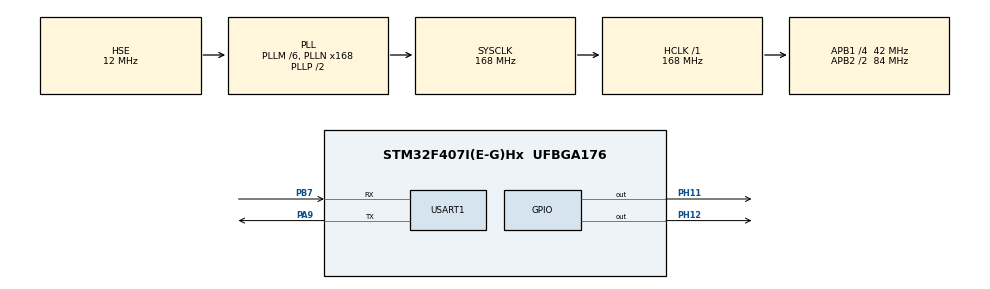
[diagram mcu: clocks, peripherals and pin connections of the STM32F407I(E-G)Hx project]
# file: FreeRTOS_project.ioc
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FREERTOS.Tasks01=defaultTask,24,128,StartDefaultTask,Default,NULL,Dynamic,NULL,NULL
Mcu.Family=STM32F4
Mcu.Name=STM32F407I(E-G)Hx
Mcu.Package=UFBGA176
NVIC.PriorityGroup=NVIC_PRIORITYGROUP_4
NVIC.TIM1_UP_TIM10_IRQn=true\:15\:0\:false\:false\:true\:false\:false\:true\:true
NVIC.TimeBase=TIM1_UP_TIM10_IRQn
NVIC.TimeBaseIP=TIM1
PA13.Mode=Serial_Wire
PA13.Signal=SYS_JTMS-SWDIO
PA14.Mode=Serial_Wire
PA14.Signal=SYS_JTCK-SWCLK
PA9.Mode=Asynchronous
PA9.Signal=USART1_TX
PB7.Mode=Asynchronous
PB7.Signal=USART1_RX
PC14-OSC32_IN.Mode=LSE-External-Oscillator
PC14-OSC32_IN.Signal=RCC_OSC32_IN
PC15-OSC32_OUT.Mode=LSE-External-Oscillator
PC15-OSC32_OUT.Signal=RCC_OSC32_OUT
PH0-OSC_IN.Mode=HSE-External-Oscillator
PH0-OSC_IN.Signal=RCC_OSC_IN
PH1-OSC_OUT.Mode=HSE-External-Oscillator
PH1-OSC_OUT.Signal=RCC_OSC_OUT
PH11.GPIO_PuPd=GPIO_PULLUP
PH11.Signal=GPIO_Output
PH12.GPIO_PuPd=GPIO_PULLUP
PH12.Signal=GPIO_Output
ProjectManager.HeapSize=0x200
ProjectManager.StackSize=0x400
ProjectManager.TargetToolchain=CMake
RCC.48MHZClocksFreq_Value=84000000
RCC.AHBFreq_Value=168000000
RCC.APB1CLKDivider=RCC_HCLK_DIV4
RCC.APB1Freq_Value=42000000
RCC.APB1TimFreq_Value=84000000
RCC.APB2CLKDivider=RCC_HCLK_DIV2
RCC.APB2Freq_Value=84000000
RCC.APB2TimFreq_Value=168000000
RCC.CortexFreq_Value=168000000
RCC.HCLKFreq_Value=168000000
RCC.HSE_VALUE=12000000
RCC.HSI_VALUE=16000000
RCC.PLLM=6
RCC.PLLN=168
RCC.PLLSourceVirtual=RCC_PLLSOURCE_HSE
RCC.SYSCLKFreq_VALUE=168000000
RCC.SYSCLKSource=RCC_SYSCLKSOURCE_PLLCLK
RCC.VCOOutputFreq_Value=336000000
USART1.VirtualMode=VM_ASYNC
VP_FREERTOS_VS_CMSIS_V2.Mode=CMSIS_V2
VP_SYS_VS_tim1.Mode=TIM1
board=custom

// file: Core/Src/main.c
/* USER CODE BEGIN Header */
/**
  ******************************************************************************
  * @file           : main.c
  * @brief          : Main program body
  ******************************************************************************
  * @attention
  *
  * Copyright (c) 2026 STMicroelectronics.
  * All rights reserved.
  *
  * This software is licensed under terms that can be found in the LICENSE file
  * in the root directory of this software component.
  * If no LICENSE file comes with this software, it is provided AS-IS.
  *
  ******************************************************************************
  */
/* USER CODE END Header */
#include "main.h"
#include "cmsis_os.h"
#include "usart.h"
#include "gpio.h"

/* USER CODE BEGIN Includes */
#include "stdio.h"
#include <unistd.h>
#include "queue.h"       // cubemx 队列的头文件
#include "semphr.h"      // 信号量 的头文件
#include "my_freertos.h"
/* USER CODE END Includes */

/* USER CODE BEGIN PTD */
#define MAX_RESOURCE 3        //   定义计数信号量最大值
/* USER CODE END PTD */

/* USER CODE BEGIN PD */
extern UART_HandleTypeDef huart1;

TaskHandle_t xHandle1, xHandle2, xHandle3;    //  task1,2,3 的任务句柄
TaskHandle_t SenderHandle_1,SenderHandle_2, SenderHandle1 , SenderHandle2 , ReceiverHandle ;  //  发送和接收队列的句柄
QueueHandle_t queue_handle;
xQueueHandle xQueue1 ,xQueue2 ;               //  创建两个队列的句柄
xQueueSetHandle xQueueSet ;                   //  创建队列集合   使用队列集合需要先在FreeRTOSConfig.h 中定义宏 configUSE_QUEUE_SETS 并将其赋值为 1

xSemaphoreHandle  xSemaphore ;                //  创建计数信号量 句柄
SemaphoreHandle_t xBinarySemaphore ;          //  创建信号量 句柄

/* USER CODE END PD */

void SystemClock_Config(void);
void MX_FREERTOS_Init(void);
/* USER CODE BEGIN PFP */
uint32_t a ,b,c ,d,e,value1,value2;
uint8_t flag=0;
int sharedCounter = 0 ;
void vTask2(void *pvParameters) ;
void vTask3(void *pvParameters) ;
/* USER CODE END PFP */

/* USER CODE BEGIN 0 */
const char * s1 = "task1 controller running..." ;
const char * s2 = "task2 controller running..." ;
const char * s3 = "task3 controller running..." ;

// 定义三个全局变量
uint32_t redLedProfile = 0, blueLedProfile = 0, greenLedProfile = 0;
SemaphoreHandle_t xMutex ;      //  定义一个互斥量

uint32_t priority ;

typedef enum {                  //  传感器枚举类型
  humidity_sensor,         //  温度传感器
  pressure_sensor          //  压力传感器
}DataSource_t;

typedef struct {
  uint8_t ucValue ;    // 数据
  DataSource_t sDataSource ;  // 传感器类型
}Data_t ;

static const Data_t xStructsToSend[2] =   //  初始化数据
  {
     {77,humidity_sensor},
     {63,pressure_sensor}
  } ;

void vTask1(void *pvParameters) {

  for (;;) {
    ++a ;
    value1 ++ ;
//  printf("%s\r\n",(char *)pvParameters);
//	osDelay(10);
    for (int i =0; i <500 ;i++){}
/*  if(value1 > 7000)
{
    flag = 1;
    vTaskDelete(NULL);                    // 删除任务  使用函数前需要将 FreeRTOSConfig.h 中的宏 INCLUDE_vTaskDelete 赋值为 1
    vTaskSuspend(NULL);                   // 挂起任务  操作自身 参数填NULL
   vTaskDelay(pdMS_TO_TICKS(100));        // 将任务从就绪态 转到 阻塞态, pdMS_TO_TICKS()宏的作用是将括号中的毫秒转成对应的tick数
}  */
//    vTaskPrioritySet(NULL,3) ;              // 优先级设置
//    priority = uxTaskPriorityGet(xHandle1);   // 获取优先级
  }
}

void vTask2(void *pvParameters) {
  for (;;) {
  ++b;
//  printf("%s\r\n",(char *)pvParameters);
//	osDelay(10);
//   vTaskDelay(pdMS_TO_TICKS(100));
  }
}
void vTask3(void *pvParameters) {
  for (;;) {
  ++c;
//  printf("%s\r\n",(char *)pvParameters);
//	osDelay(10);
  /*  for (int i =0; i <500 ;i++){}
  if(flag == 1)
{  value2 ++ ;
   if(value2 > 10000)
{
    vTaskResume(xHandle1);    //  唤醒任务
    flag = 0 ;
}
}    */
//    vTaskDelay(pdMS_TO_TICKS(100));

  }
}

// 在每次执行任务切换的时候会执行这个函数，中断回调函数
void vApplicationTickHook(void) {     //  钩子函数   对应将宏 configUSE_TICK_HOOK 置为 1
  e++ ;
}

//  RTOS要求在任何状态下都要有任务运行，在其他所有任务都不在就绪态时，这个空闲任务（IDLE）执行，调用该函数
void vApplicationIdleHook( void ) {   //  钩子函数   对应将宏 configUSE_IDLE_HOOK 置为 1
  d++ ;
}

void SenderTask (void * pvParameters) {
  BaseType_t qStatus;
  const TickType_t wait_time = pdMS_TO_TICKS(200);
  while(1) {
    qStatus = xQueueSend(queue_handle,pvParameters, wait_time) ;
   if (qStatus == pdPASS) {

   }
    for (int i =0; i <50000 ;i++){}
  }
}

void SenderTask1(void *pvParameters) {           //  发送任务函数
  uint32_t value = 5;
  BaseType_t qStatus;
  while(1) {
   qStatus = xQueueSend(queue_handle,&value,0) ;     //  向队列中发送数据   这里的句柄传的就是在主函数中创建队列得到的句柄，得以对队列进行具体操作
    if (qStatus != pdTRUE) {
      printf("Sender Task Error\r\n");
    }
    for( int i = 0 ;i < 100000 ; i++ ){}
  }
}

void SenderTask2(void *pvParameters) {           //  发送任务函数
  uint32_t value = 6;
  BaseType_t qStatus;
  while(1) {
    qStatus = xQueueSend(queue_handle,&value,0) ;     //  向队列中发送数据   这里的句柄传的就是在主函数中创建队列得到的句柄，得以对队列进行具体操作
    if (qStatus != pdTRUE) {
      printf("Sender Task Error\r\n");
    }
    for( int i = 0 ;i < 100000 ; i++ ){}
  }
}

void ReceiverTask(void *pvParameters) {          //  接收任务函数
  Data_t xReceiveStructure ;
  const TickType_t wait_time = pdMS_TO_TICKS(100);     //  用宏来设定最大延时时间
  BaseType_t qStatus;
  while(1) {
    qStatus = xQueueReceive(queue_handle,&xReceiveStructure ,wait_time);  //  从队列中接收数据
    if (qStatus == pdTRUE) {
      if (xReceiveStructure .sDataSource ==humidity_sensor) {
        printf("humidity sensor value:%d \r\n",xReceiveStructure.ucValue );
      }
      else if (xReceiveStructure .sDataSource ==pressure_sensor) {
        printf("pressure sensor value:%d \r\n",xReceiveStructure.ucValue );
      }
    }
    else {
      printf("Receiver Error\r\n");
      for( int i = 0 ;i < 100000 ; i++ ){}
    }
  }
}

void SenderTask_1(void *pvParameters) {
  const  TickType_t xBlockTime = pdMS_TO_TICKS(100);
  const char * const msg ="messege from SenderTask_1\r\n " ;

  while(1) {
  vTaskDelay(xBlockTime);
    xQueueSend(xQueue1 ,&msg ,0) ;
  }
}

void SenderTask_2(void *pvParameters) {
  const  TickType_t xBlockTime = pdMS_TO_TICKS(100);
  const char * const msg ="messege from SenderTask_2\r\n " ;

  while(1) {
    vTaskDelay(xBlockTime);
    xQueueSend(xQueue2 ,&msg ,0) ;
  }
}

void ReceiveTask_1(void *pvParameters) {
  QueueHandle_t xQueueThatContainsData ;
  char *pcReicievedString ;
  while(1) {                         //  从队列中接收字符
    xQueueThatContainsData = (QueueHandle_t)xQueueSelectFromSet(xQueueSet,portMAX_DELAY) ;          //  检查队列集中所有成员（队列或信号量）的状态，返回第一个被检测到有数据/事件的成员
    xQueueReceive(xQueueThatContainsData,&pcReicievedString ,0) ;                    // 接收的是被选择的句柄的数据
    printf("%s\n\r",pcReicievedString);

  }
}

//  二值信号量任务
void redLedControllerTask(void *pvParameters) {
    xSemaphoreGive(xBinarySemaphore);                            //  首先 先放置一个信号量
  while(1) {
    xSemaphoreTake(xBinarySemaphore,portMAX_DELAY);              //  获取句柄为 xBinarySemaphore 的信号量
    printf("redLedControllerTask running ...\r\n");
    ++redLedProfile ;
    xSemaphoreGive(xBinarySemaphore);                            //  释放信号量
    vTaskDelay(pdMS_TO_TICKS(1));
  }
}

void blueLedControllerTask(void *pvParameters) {
  while(1) {
    xSemaphoreTake(xBinarySemaphore,portMAX_DELAY);              //  获取句柄为 xBinarySemaphore 的信号量
    printf("blueLedControllerTask running ...\r\n");
    ++blueLedProfile ;
    xSemaphoreGive(xBinarySemaphore);                            //  释放信号量
    vTaskDelay(pdMS_TO_TICKS(1));
  }
}

void greenLedControllerTask(void *pvParameters) {                //  获取句柄为 xBinarySemaphore 的信号量
  while(1) {
    xSemaphoreTake(xBinarySemaphore,portMAX_DELAY);
    printf("greenLedControllerTask running ...\r\n");
    ++greenLedProfile ;
    xSemaphoreGive(xBinarySemaphore);                            //  释放信号量
    vTaskDelay(pdMS_TO_TICKS(1));
  }
}

//  互斥信号量任务
//  在使用上 互斥信号量创建好之后，长度为 1。大小为 0 的队列中是有值的，直接获取就行了; 用于保护任务的共享资源，支持优先级反转避免死锁
// 但是二值信号量的创建函数创建完之后，队列中是空的,需要先放后取。用于任务间的简单同步
void Task1(void *pvParameters) {
  while(1) {
    if (xSemaphoreTake(xMutex,portMAX_DELAY) == pdTRUE)         //  如果任务获取到互斥信号量
    {
      sharedCounter ++ ;
      printf("Task1:sharedCounter = %d\r\n",sharedCounter);
      xSemaphoreGive(xMutex);                                   //  释放信号量
    }
      vTaskDelay(pdMS_TO_TICKS(10));
  }
}

void Task2(void *pvParameters) {
  while(1) {
    if (xSemaphoreTake(xMutex,portMAX_DELAY) == pdTRUE)         //  如果任务获取到互斥信号量
    {
      sharedCounter ++ ;
      printf("Task2:sharedCounter = %d\r\n",sharedCounter);
      xSemaphoreGive(xMutex);                                   //  释放信号量
    }
    vTaskDelay(pdMS_TO_TICKS(10));
  }
}

void Task3(void *pvParameters) {
  while(1) {
    if (xSemaphoreTake(xMutex,portMAX_DELAY) == pdTRUE)         //  如果任务获取到互斥信号量
    {
      sharedCounter ++ ;
      printf("Task3:sharedCounter = %d\r\n",sharedCounter);
      xSemaphoreGive(xMutex);                                   //  释放信号量
    }
    vTaskDelay(pdMS_TO_TICKS(10));
  }
}

//  计数信号量任务
void vTaskFunction(void *pvParameters) {
  char *taskID = (char *)pvParameters;
  while(1) {
    printf(" 任务 %s 请求资源\r\n",taskID);
    fflush(stdout) ;                        //  加一句 c++的代码，用于清空输出缓冲区
    if ( xSemaphoreTake(xSemaphore,0) == pdTRUE) {              //   用的和互斥信号量是同一个函数  如果获取成功
      printf("任务 %s 获取资源，当前资源剩余 %d\r\n", taskID, (uint32_t) uxSemaphoreGetCount(xSemaphore));   // 用uxSemaphoreGetCount函数 获取剩余信号量
     fflush(stdout) ;
      for (int i = 0; i < 10000000 ; i++){}
      printf("任务 %s 使用完资源，当前资源剩余 %d\r\n", taskID, (uint32_t) uxSemaphoreGetCount(xSemaphore));   // 用uxSemaphoreGetCount函数 获取剩余信号量
     fflush(stdout) ;
      xSemaphoreGive(xSemaphore);
    }
    else {
      printf("任务 %s 无法获取资源，资源池为空\r\n", taskID);
     fflush(stdout) ;
    }
    vTaskDelay(pdMS_TO_TICKS(1000));
  }
}

/* USER CODE END 0 */

int main(void)
{

  /* MCU Configuration--------------------------------------------------------*/

  /* Reset of all peripherals, Initializes the Flash interface and the Systick. */
  HAL_Init();

  /* Configure the system clock */
  SystemClock_Config();

  /* Initialize all configured peripherals */
  MX_GPIO_Init();
  MX_USART1_UART_Init();
  /* USER CODE BEGIN 2 */
 // xTaskCreate(vTask1, "Task1", configMINIMAL_STACK_SIZE, NULL, 1, &xHandle1);
 // xTaskCreate(vTask2, "Task2", configMINIMAL_STACK_SIZE, NULL, 1, &xHandle2);
 // xTaskCreate(vTask3, "Task3", configMINIMAL_STACK_SIZE, NULL, 1, &xHandle3);

  // queue_handle = xQueueCreate(5, sizeof(Data_t));      // 创建队列函数  参数是队列的长度 以及 单个元素的大小  队列创建成功之后会得到一个任务句柄
  xQueue1 = xQueueCreate(1,sizeof(char *));
  xQueue2 = xQueueCreate(1,sizeof(char *));

  //  任务集合适用于需要从多个数据来源同步接收处理数据，可以避免通过轮询检查任务状态的方式，把数据放到一个队列里，提高处理效率
  xQueueSet = xQueueCreateSet(1*2) ;   // 创建队列集合，每条队列长度为 1，一共有两条队列   需要先定义宏configUSE_QUEUE_SETS 并赋值为 1
  xQueueAddToSet(xQueue1,xQueueSet) ;     //  将两条队列分别加入队列集合
  xQueueAddToSet(xQueue2,xQueueSet) ;

  // xTaskCreate(SenderTask1,"Sender1",512,NULL,1,&SenderHandle1);    // 创建任务
  // xTaskCreate(SenderTask2,"Sender2",512,NULL,1,&SenderHandle2);    // 创建任务

//  xTaskCreate(SenderTask,"Sender_1",512,(void *)&(xStructsToSend[0]),2,&SenderHandle_1);    // 传入的 (void *)&(xStructsToSend[0]) 就是传给Task函数的参数
//  xTaskCreate(SenderTask,"Sender_2",512,(void *)&(xStructsToSend[1]),2,&SenderHandle_2);
//  xTaskCreate(ReceiverTask,"Receiver",1024,NULL,2,&ReceiverHandle);

//  xTaskCreate(SenderTask_1,"sender1",512,NULL,1,NULL);
//  xTaskCreate(SenderTask_2,"sender2",512,NULL,1,NULL);
//  xTaskCreate(ReceiveTask_1,"receiver",1024,NULL,2,NULL);

//    xBinarySemaphore = xSemaphoreCreateBinary() ;               //  创建二值信号量 返回给二值信号量的句柄

//   xTaskCreate(redLedControllerTask,"redLedTask" , 512,NULL,1,NULL) ;
//    xTaskCreate(blueLedControllerTask,"blueLedTask" , 512,NULL,1,NULL) ;
//    xTaskCreate(greenLedControllerTask,"greenLedTask" , 512,NULL,1,NULL) ;

//  xMutex = xSemaphoreCreateMutex();                              //  创建 互斥信号量 返回给互斥信号量的句柄
//  xTaskCreate(Task1,"Task1" , 512,NULL,1,NULL) ;
// xTaskCreate(Task2,"Task2" , 512,NULL,1,NULL) ;
// xTaskCreate(Task3,"Task3" , 512,NULL,1,NULL) ;

  xSemaphore = xSemaphoreCreateCounting(MAX_RESOURCE,MAX_RESOURCE);   //  创建  计数信号量 返回给计数信号量的句柄。两个参数分别为 最大信号量 和 初始信号量
  if (xSemaphore == NULL) {
    printf("创建信号量失败\r\n") ;
    return 0 ;
  }
  xTaskCreate(vTaskFunction,"TaskFunction_0",1024,"0",1,NULL);
  xTaskCreate(vTaskFunction,"TaskFunction_1",1024,"1",1,NULL);
  xTaskCreate(vTaskFunction,"TaskFunction_2",1024,"2",1,NULL);
  xTaskCreate(vTaskFunction,"TaskFunction_3",1024,"3",1,NULL);
  xTaskCreate(vTaskFunction,"TaskFunction_4",1024,"4",1,NULL);
  xTaskCreate(vTaskFunction,"TaskFunction_5",1024,"5",1,NULL);

  vTaskStartScheduler();

  /* USER CODE END 2 */

  /* Init scheduler */
  //osKernelInitialize();  /* Call init function for freertos objects (in cmsis_os2.c) */
  //MX_FREERTOS_Init();

  /* Start scheduler */
  //osKernelStart();

  /* We should never get here as control is now taken by the scheduler */

  /* Infinite loop */
  while (1)
  {

  }
}

void SystemClock_Config(void)
{
  RCC_OscInitTypeDef RCC_OscInitStruct = {0};
  RCC_ClkInitTypeDef RCC_ClkInitStruct = {0};

  /** Configure the main internal regulator output voltage
  */
  __HAL_RCC_PWR_CLK_ENABLE();
  __HAL_PWR_VOLTAGESCALING_CONFIG(PWR_REGULATOR_VOLTAGE_SCALE1);

  /** Initializes the RCC Oscillators according to the specified parameters
  * in the RCC_OscInitTypeDef structure.
  */
  RCC_OscInitStruct.OscillatorType = RCC_OSCILLATORTYPE_HSE;
  RCC_OscInitStruct.HSEState = RCC_HSE_ON;
  RCC_OscInitStruct.PLL.PLLState = RCC_PLL_ON;
  RCC_OscInitStruct.PLL.PLLSource = RCC_PLLSOURCE_HSE;
  RCC_OscInitStruct.PLL.PLLM = 6;
  RCC_OscInitStruct.PLL.PLLN = 168;
  RCC_OscInitStruct.PLL.PLLP = RCC_PLLP_DIV2;
  RCC_OscInitStruct.PLL.PLLQ = 4;
  if (HAL_RCC_OscConfig(&RCC_OscInitStruct) != HAL_OK)
  {
    Error_Handler();
  }

  /** Initializes the CPU, AHB and APB buses clocks
  */
  RCC_ClkInitStruct.ClockType = RCC_CLOCKTYPE_HCLK|RCC_CLOCKTYPE_SYSCLK
                              |RCC_CLOCKTYPE_PCLK1|RCC_CLOCKTYPE_PCLK2;
  RCC_ClkInitStruct.SYSCLKSource = RCC_SYSCLKSOURCE_PLLCLK;
  RCC_ClkInitStruct.AHBCLKDivider = RCC_SYSCLK_DIV1;
  RCC_ClkInitStruct.APB1CLKDivider = RCC_HCLK_DIV4;
  RCC_ClkInitStruct.APB2CLKDivider = RCC_HCLK_DIV2;

  if (HAL_RCC_ClockConfig(&RCC_ClkInitStruct, FLASH_LATENCY_5) != HAL_OK)
  {
    Error_Handler();
  }
}

void HAL_TIM_PeriodElapsedCallback(TIM_HandleTypeDef *htim)
{
  if (htim->Instance == TIM1)
  {
    HAL_IncTick();
  }
}

void Error_Handler(void)
{
  __disable_irq();
  while (1)
  {
  }
}

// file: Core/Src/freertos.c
/* USER CODE BEGIN Header */
/**
  ******************************************************************************
  * File Name          : freertos.c
  * Description        : Code for freertos applications
  ******************************************************************************
  * @attention
  *
  * Copyright (c) 2026 STMicroelectronics.
  * All rights reserved.
  *
  * This software is licensed under terms that can be found in the LICENSE file
  * in the root directory of this software component.
  * If no LICENSE file comes with this software, it is provided AS-IS.
  *
  ******************************************************************************
  */
/* USER CODE END Header */

#include "FreeRTOS.h"
#include "task.h"
#include "main.h"
#include "cmsis_os.h"

/* USER CODE BEGIN Includes */
#include "stdio.h"
#include "usart.h"
#include <unistd.h>
#include "my_freertos.h"
/* USER CODE END Includes */

/* USER CODE BEGIN PTD */
extern UART_HandleTypeDef huart1;
/* USER CODE END PTD */

/* USER CODE BEGIN Variables */
int _write(int file, char *ptr, int len)
{
  (void)file;
  HAL_UART_Transmit(&huart1, (uint8_t*)ptr, len, HAL_MAX_DELAY);
  return len;
}
/* USER CODE END Variables */
/* Definitions for defaultTask */
osThreadId_t defaultTaskHandle;
const osThreadAttr_t defaultTask_attributes = {
  .name = "defaultTask",
  .stack_size = 128 * 4,
  .priority = (osPriority_t) osPriorityNormal,
};

void StartDefaultTask(void *argument);

void MX_FREERTOS_Init(void); /* (MISRA C 2004 rule 8.1) */

void MX_FREERTOS_Init(void) {

  /* Create the thread(s) */
  /* creation of defaultTask */
  defaultTaskHandle = osThreadNew(StartDefaultTask, NULL, &defaultTask_attributes);

}

void StartDefaultTask(void *argument)
{
  /* USER CODE BEGIN StartDefaultTask */
  /* Infinite loop */
  for(;;)
  {
      HAL_GPIO_WritePin(GPIOH,GPIO_PIN_11,1);
      printf("Hello World!\r\n");

  }
  /* USER CODE END StartDefaultTask */
}

/* USER CODE BEGIN Application */
int fputc(int ch, FILE *f) {
  HAL_UART_Transmit(&huart1, (uint8_t *)&ch, 1, 0xFFFF);
  return ch;
}
/* USER CODE END Application */
